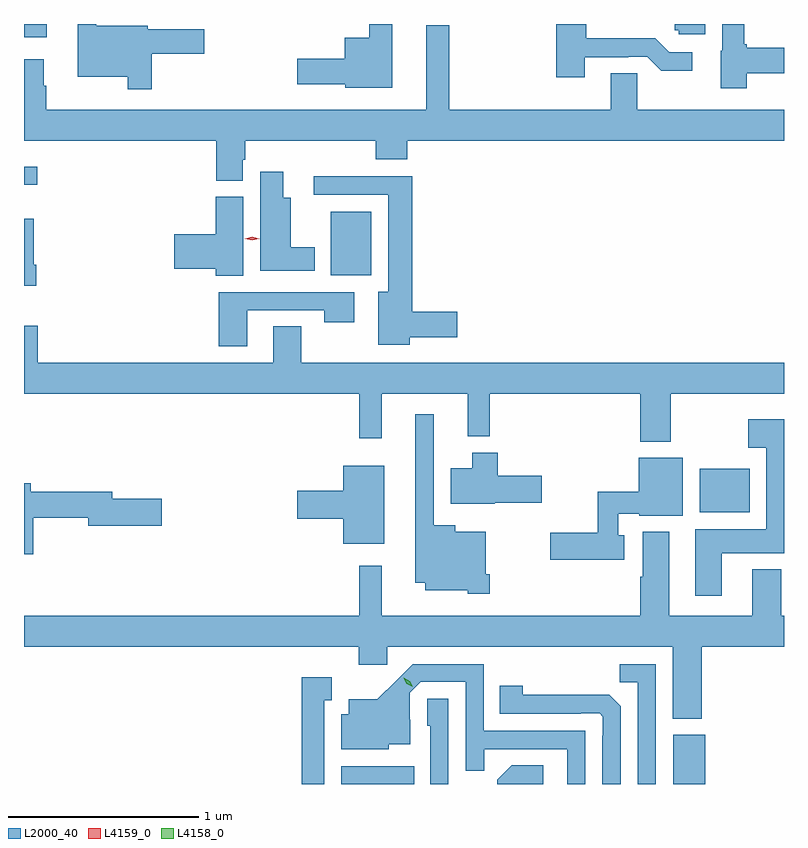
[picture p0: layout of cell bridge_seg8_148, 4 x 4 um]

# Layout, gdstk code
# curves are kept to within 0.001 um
import gdstk
lib = gdstk.Library(unit=1e-6, precision=1e-09)
def R(c, l, rs):  # rectangles x0, y0, x1, y1
    for r in rs: c.add(gdstk.rectangle(r[:2], r[2:], *l))
def P(c, l, *ps):  # polygons
    for p in ps: c.add(gdstk.Polygon(p, *l))
L2000_40 = (2000, 40)
L4158_0 = (4158, 0)
L4159_0 = (4159, 0)

bridge_seg8_148 = lib.new_cell('bridge_seg8_148')
R(bridge_seg8_148, L2000_40, [(516.548,1142.418,516.932,1142.512), (518.297,1142.418,518.464,1142.677), (518.435,1143.848,518.698,1144.078), (516.494,1145.096,516.706,1145.431), (514.879,1145.571,514.948,1145.668), (514.879,1146.347,514.999,1146.418)])
P(bridge_seg8_148, L2000_40, [(518.464,1146.418),(518.303,1146.418),(518.303,1146.384),(518.325,1146.384),(518.325,1146.363),(518.464,1146.363)],
  [(517.831,1146.243),(518.06,1146.243),(518.06,1146.246),(518.16,1146.246),(518.233,1146.173),(518.395,1146.173),(518.395,1146.27),(518.274,1146.27),(518.201,1146.343),(517.839,1146.343),(517.839,1146.418),(517.679,1146.418),(517.679,1146.138),(517.831,1146.138)],
  [(518.682,1146.158),(518.879,1146.158),(518.879,1146.293),(518.682,1146.293),(518.682,1146.311),(518.669,1146.311),(518.669,1146.418),(518.553,1146.418),(518.553,1146.276),(518.546,1146.276),(518.546,1146.08),(518.682,1146.08)],
  [(516.817,1146.418),(516.696,1146.418),(516.696,1146.346),(516.566,1146.346),(516.566,1146.236),(516.318,1146.236),(516.318,1146.101),(516.57,1146.101),(516.57,1146.083),(516.817,1146.083)],
  [(515.552,1146.262),(515.827,1146.262),(515.827,1146.391),(515.529,1146.391),(515.529,1146.409),(515.259,1146.409),(515.259,1146.418),(515.162,1146.418),(515.162,1146.14),(515.424,1146.14),(515.424,1146.075),(515.552,1146.075)],
  [(516.031,1145.703),(516.044,1145.703),(516.044,1145.804),(516.731,1145.804),(516.731,1145.705),(516.895,1145.705),(516.895,1145.804),(518.879,1145.804),(518.879,1145.968),(518.106,1145.968),(518.106,1146.158),(517.967,1146.158),(517.967,1145.968),(517.117,1145.968),(517.117,1146.412),(516.995,1146.412),(516.995,1145.968),(514.996,1145.968),(514.996,1146.092),(514.984,1146.092),(514.984,1146.232),(514.879,1146.232),(514.879,1145.804),(515.891,1145.804),(515.891,1145.593),(516.031,1145.593)],
  [(516.409,1145.242),(516.283,1145.242),(516.283,1145.503),(516.244,1145.503),(516.244,1145.641),(516.122,1145.641),(516.122,1145.12),(516.409,1145.12)],
  [(516.91,1144.769),(517.159,1144.769),(517.159,1144.904),(516.923,1144.904),(516.923,1145.618),(516.405,1145.618),(516.405,1145.52),(516.797,1145.52),(516.797,1145.008),(516.743,1145.008),(516.743,1144.73),(516.91,1144.73)],
  [(516.034,1145.508),(515.888,1145.508),(515.888,1145.312),(515.67,1145.312),(515.67,1145.129),(515.888,1145.129),(515.888,1145.092),(516.034,1145.092)],
  [(514.943,1145.152),(514.93,1145.152),(514.93,1145.392),(514.879,1145.392),(514.879,1145.04),(514.943,1145.04)],
  [(516.055,1144.911),(516.46,1144.911),(516.46,1144.848),(516.616,1144.848),(516.616,1145.007),(515.903,1145.007),(515.903,1144.722),(516.055,1144.722)],
  [(518.283,1144.472),(518.879,1144.472),(518.879,1144.636),(516.339,1144.636),(516.339,1144.826),(516.191,1144.826),(516.191,1144.636),(514.952,1144.636),(514.952,1144.831),(514.879,1144.831),(514.879,1144.472),(516.643,1144.472),(516.643,1144.239),(516.761,1144.239),(516.761,1144.472),(517.214,1144.472),(517.214,1144.247),(517.331,1144.247),(517.331,1144.472),(518.123,1144.472),(518.123,1144.22),(518.283,1144.22)],
  [(517.331,1143.523),(517.309,1143.523),(517.309,1143.745),(517.15,1143.745),(517.15,1143.781),(517.035,1143.781),(517.035,1144.363),(516.938,1144.363),(516.938,1143.476),(516.992,1143.476),(516.992,1143.437),(517.215,1143.437),(517.215,1143.419),(517.331,1143.419)],
  [(518.551,1143.632),(518.879,1143.632),(518.879,1144.339),(518.691,1144.339),(518.691,1144.187),(518.786,1144.187),(518.786,1143.76),(518.411,1143.76),(518.411,1143.408),(518.551,1143.408)],
  [(517.356,1143.899),(517.603,1143.899),(517.603,1144.041),(517.373,1144.041),(517.373,1144.162),(517.238,1144.162),(517.238,1144.081),(517.124,1144.081),(517.124,1143.893),(517.356,1143.893)],
  [(518.038,1143.727),(518.007,1143.727),(518.007,1143.84),(518.118,1143.84),(518.118,1143.83),(518.347,1143.83),(518.347,1144.135),(518.114,1144.135),(518.114,1143.956),(517.899,1143.956),(517.899,1143.74),(517.65,1143.74),(517.65,1143.598),(518.038,1143.598)],
  [(516.775,1144.093),(516.56,1144.093),(516.56,1143.962),(516.318,1143.962),(516.318,1143.815),(516.56,1143.815),(516.56,1143.683),(516.775,1143.683)],
  [(514.928,1143.82),(515.216,1143.82),(515.216,1143.778),(515.605,1143.778),(515.605,1143.92),(515.344,1143.92),(515.344,1143.956),(514.915,1143.956),(514.915,1144),(514.879,1144),(514.879,1143.627),(514.928,1143.627)],
  [(518.447,1143.14),(518.879,1143.14),(518.879,1143.304),(518.864,1143.304),(518.864,1143.547),(518.711,1143.547),(518.711,1143.304),(518.275,1143.304),(518.275,1143.745),(518.135,1143.745),(518.135,1143.509),(518.123,1143.509),(518.123,1143.304),(516.762,1143.304),(516.762,1143.568),(516.643,1143.568),(516.643,1143.304),(514.879,1143.304),(514.879,1143.14),(516.641,1143.14),(516.641,1143.045),(516.792,1143.045),(516.792,1143.14),(518.294,1143.14),(518.294,1142.762),(518.447,1142.762)],
  [(517.833,1142.697),(517.299,1142.697),(517.299,1143.048),(516.926,1143.048),(516.739,1142.863),(516.587,1142.863),(516.587,1142.785),(516.548,1142.785),(516.548,1142.6),(516.798,1142.6),(516.798,1142.627),(516.913,1142.627),(516.913,1142.756),(516.909,1142.756),(516.909,1142.898),(516.966,1142.955),(517.203,1142.955),(517.203,1142.488),(517.301,1142.488),(517.301,1142.601),(517.737,1142.601),(517.737,1142.418),(517.833,1142.418)],
  [(518.205,1143.048),(518.014,1143.048),(518.014,1142.953),(518.109,1142.953),(518.109,1142.418),(518.205,1142.418)],
  [(516.46,1142.859),(516.499,1142.859),(516.499,1142.98),(516.342,1142.98),(516.342,1142.418),(516.46,1142.418)],
  [(518.019,1142.828),(517.96,1142.887),(517.503,1142.888),(517.503,1142.935),(517.384,1142.935),(517.384,1142.787),(517.808,1142.787),(517.808,1142.79),(517.908,1142.79),(517.926,1142.772),(517.926,1142.672),(517.923,1142.672),(517.923,1142.418),(518.019,1142.418)],
  [(517.113,1142.867),(517.002,1142.867),(517.002,1142.724),(517.017,1142.724),(517.017,1142.418),(517.113,1142.418)],
  [(517.612,1142.516),(517.447,1142.516),(517.371,1142.44),(517.371,1142.418),(517.612,1142.418)])
P(bridge_seg8_148, L4158_0, [(516.924,1142.93),(516.894,1142.946),(516.877,1142.975),(516.877,1142.976),(516.877,1142.976),(516.908,1142.96),(516.924,1142.93),(516.924,1142.93)])
P(bridge_seg8_148, L4159_0, [(516.079,1145.279),(516.04,1145.289),(516.04,1145.289),(516.04,1145.289),(516.079,1145.299),(516.118,1145.289),(516.118,1145.289),(516.118,1145.289)])

lib.write_gds('bridge_seg8_148.gds')
